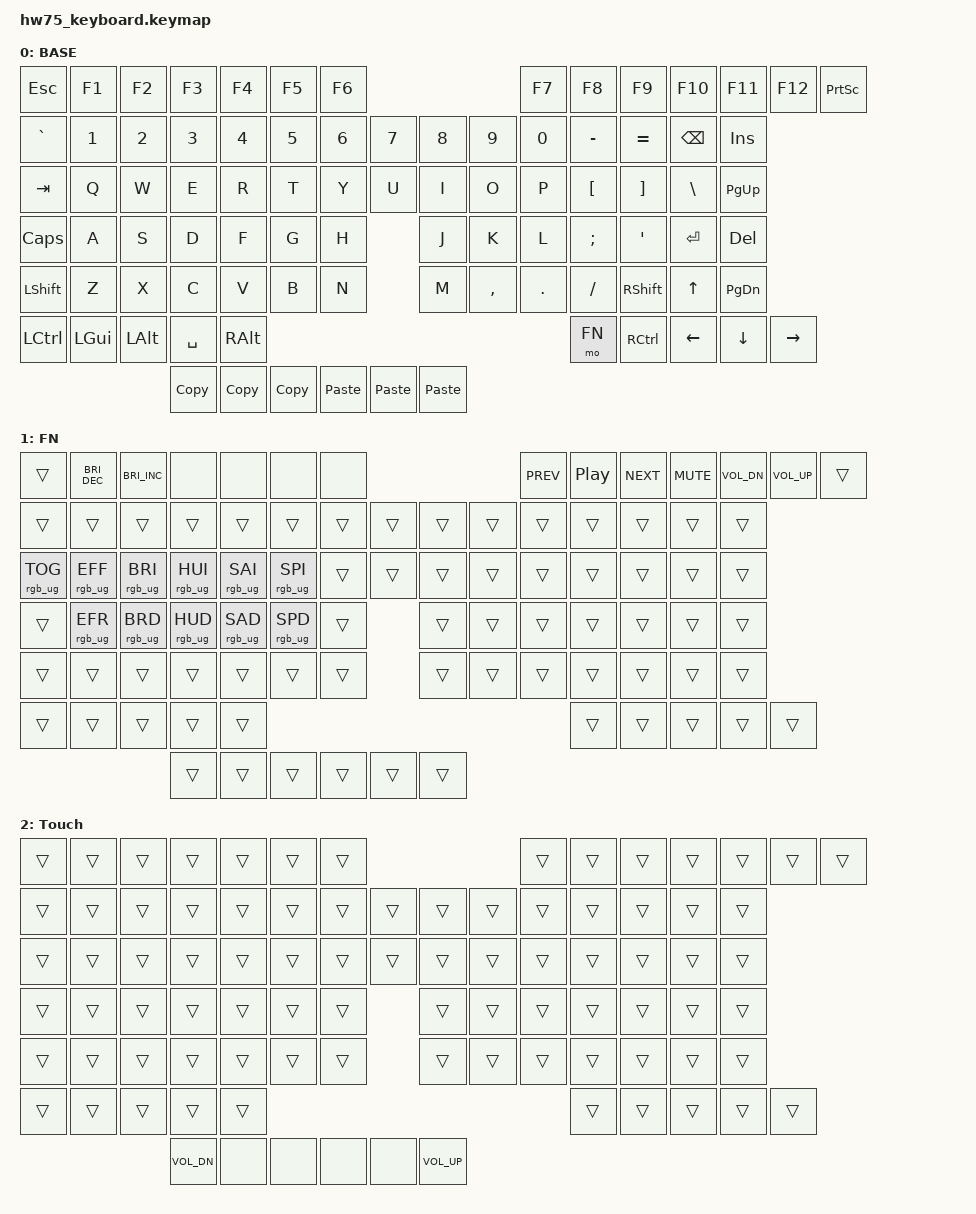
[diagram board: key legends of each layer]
/*
 * Copyright (c) 2022 The ZMK Contributors
 * SPDX-License-Identifier: MIT
 */

#include <behaviors.dtsi>
#include <dt-bindings/zmk/keys.h>
#include <dt-bindings/zmk/rgb.h>

#define BASE 0
#define FN 1
#define TOUCH 2

&sl { release-after-ms = <500>; };

/ {
    macros {
        Copy: Copy {
            compatible = "zmk,behavior-macro";
            #binding-cells = <0>;
            bindings = <&kp LC(C)>;
            label = "COPY";
        };

        Paste: Paste {
            compatible = "zmk,behavior-macro";
            #binding-cells = <0>;
            bindings = <&kp LC(V)>;
            label = "PASTE";
        };
    };

    keymap {
        compatible = "zmk,keymap";

        base {
            label = "BASE";
            bindings = <
&kp ESC              &kp F1    &kp F2  &kp F3  &kp F4             &kp F5  &kp F6  &kp F7     &kp F8               &kp F9     &kp F10   &kp F11   &kp F12              &kp PRINTSCREEN
&kp GRAVE  &kp N1    &kp N2    &kp N3  &kp N4  &kp N5  &kp N6     &kp N7  &kp N8  &kp N9     &kp N0    &kp MINUS  &kp EQUAL  &kp BSPC                                 &kp INSERT
&kp TAB              &kp Q     &kp W   &kp E   &kp R   &kp T      &kp Y   &kp U   &kp I      &kp O     &kp P      &kp LBKT   &kp RBKT  &kp BSLH                       &kp PAGE_UP
&kp CLCK             &kp A     &kp S   &kp D   &kp F   &kp G      &kp H   &kp J   &kp K      &kp L     &kp SEMI   &kp SQT              &kp RET                        &kp DELETE
&kp LSHFT            &kp Z     &kp X   &kp C   &kp V   &kp B      &kp N   &kp M   &kp COMMA  &kp DOT   &kp FSLH   &kp RSHFT                      &kp UP               &kp PG_DN
&kp LCTRL  &kp LGUI  &kp LALT                          &kp SPACE                             &kp RALT  &mo FN     &kp RCTRL            &kp LEFT  &kp DOWN  &kp RIGHT
                               &Copy   &Copy   &Copy   &Paste     &Paste  &Paste
            >;
        };

        fn {
            label = "FN";
            bindings = <
&trans                   &kp C_BRI_DEC    &kp C_BRI_INC    &none            &none                             &none   &none   &kp C_PREV  &kp C_PP          &kp C_NEXT  &kp C_MUTE  &kp C_VOL_DN  &kp C_VOL_UP          &trans
&trans           &trans  &trans           &trans           &trans           &trans           &trans           &trans  &trans  &trans      &trans    &trans  &trans      &trans                                          &trans
&rgb_ug RGB_TOG          &rgb_ug RGB_EFF  &rgb_ug RGB_BRI  &rgb_ug RGB_HUI  &rgb_ug RGB_SAI  &rgb_ug RGB_SPI  &trans  &trans  &trans      &trans    &trans  &trans      &trans      &trans                              &trans
&trans                   &rgb_ug RGB_EFR  &rgb_ug RGB_BRD  &rgb_ug RGB_HUD  &rgb_ug RGB_SAD  &rgb_ug RGB_SPD  &trans  &trans  &trans      &trans    &trans  &trans                  &trans                              &trans
&trans                   &trans           &trans           &trans           &trans           &trans           &trans  &trans  &trans      &trans    &trans  &trans                                &trans                &trans
&trans           &trans  &trans                                                              &trans                                       &trans    &trans  &trans                  &trans        &trans        &trans
                                          &trans           &trans           &trans           &trans           &trans  &trans
            >;
        };

        touch {
            label = "Touch";
            bindings = <
&trans          &trans  &trans        &trans  &trans          &trans  &trans        &trans  &trans          &trans  &trans  &trans  &trans          &trans
&trans  &trans  &trans  &trans        &trans  &trans  &trans  &trans  &trans        &trans  &trans  &trans  &trans  &trans                          &trans
&trans          &trans  &trans        &trans  &trans  &trans  &trans  &trans        &trans  &trans  &trans  &trans  &trans  &trans                  &trans
&trans          &trans  &trans        &trans  &trans  &trans  &trans  &trans        &trans  &trans  &trans  &trans          &trans                  &trans
&trans          &trans  &trans        &trans  &trans  &trans  &trans  &trans        &trans  &trans  &trans  &trans                  &trans          &trans
&trans  &trans  &trans                                &trans                                &trans  &trans  &trans          &trans  &trans  &trans
                        &kp C_VOL_DN  &none   &none   &none   &none   &kp C_VOL_UP
            >;
        };
    };
};
